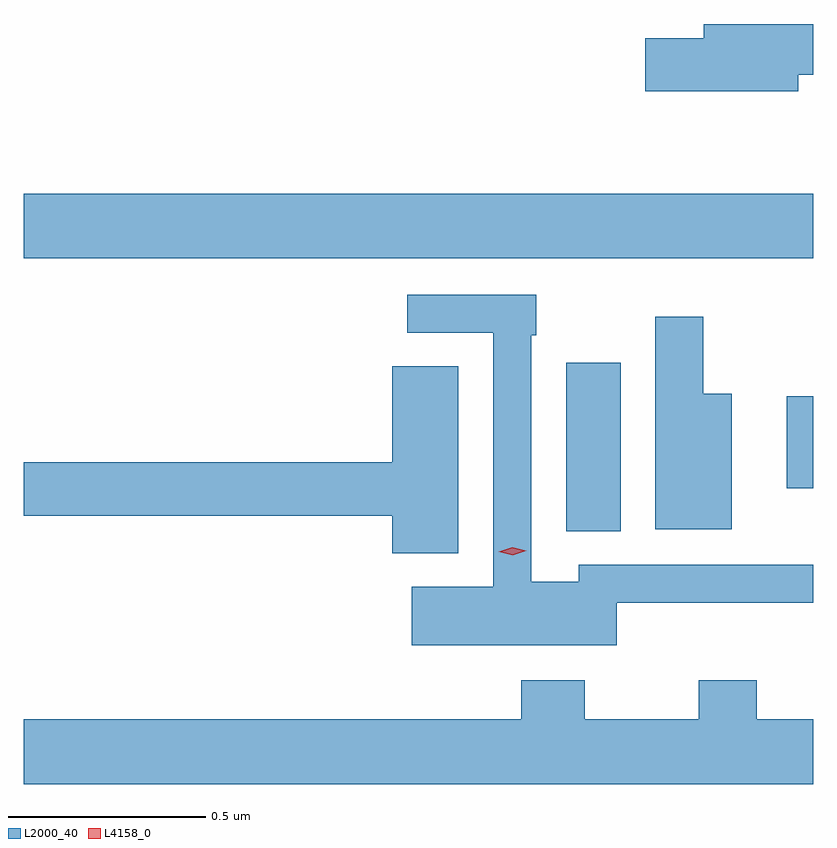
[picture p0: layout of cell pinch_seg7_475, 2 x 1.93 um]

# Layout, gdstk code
import gdstk
lib = gdstk.Library(unit=1e-6, precision=1e-09)
def R(c, l, rs):  # rectangles x0, y0, x1, y1
    for r in rs: c.add(gdstk.rectangle(r[:2], r[2:], *l))
def P(c, l, *ps):  # polygons
    for p in ps: c.add(gdstk.Polygon(p, *l))
L2000_40 = (2000, 40)
L4158_0 = (4158, 0)

pinch_seg7_475 = lib.new_cell('pinch_seg7_475')
R(pinch_seg7_475, L2000_40, [(363.827,1041.217,363.964,1041.643), (364.385,1041.326,364.452,1041.559), (362.452,1041.908,364.452,1042.072)])
P(pinch_seg7_475, L2000_40, [(364.414,1042.374),(364.452,1042.374),(364.452,1042.502),(364.175,1042.502),(364.175,1042.466),(364.026,1042.466),(364.026,1042.331),(364.414,1042.331)],
  [(363.954,1041.035),(364.452,1041.035),(364.452,1041.132),(363.858,1041.132),(363.858,1041.088),(363.738,1041.088),(363.738,1041.713),(363.751,1041.713),(363.751,1041.816),(363.423,1041.816),(363.423,1041.72),(363.642,1041.72),(363.642,1041.076),(363.435,1041.076),(363.435,1040.927),(363.954,1040.927)],
  [(364.246,1041.565),(364.174,1041.565),(364.174,1041.76),(364.052,1041.76),(364.052,1041.221),(364.246,1041.221)],
  [(363.553,1041.635),(363.386,1041.635),(363.386,1041.392),(362.452,1041.392),(362.452,1041.256),(363.386,1041.256),(363.386,1041.161),(363.553,1041.161)],
  [(364.452,1040.74),(364.309,1040.74),(364.309,1040.839),(364.162,1040.839),(364.162,1040.74),(363.873,1040.74),(363.873,1040.839),(363.713,1040.839),(363.713,1040.74),(362.452,1040.74),(362.452,1040.576),(364.452,1040.576)])
P(pinch_seg7_475, L4158_0, [(363.691,1041.156),(363.656,1041.164),(363.656,1041.164),(363.656,1041.165),(363.69,1041.176),(363.725,1041.167),(363.725,1041.167),(363.725,1041.167)])

lib.write_gds('pinch_seg7_475.gds')
